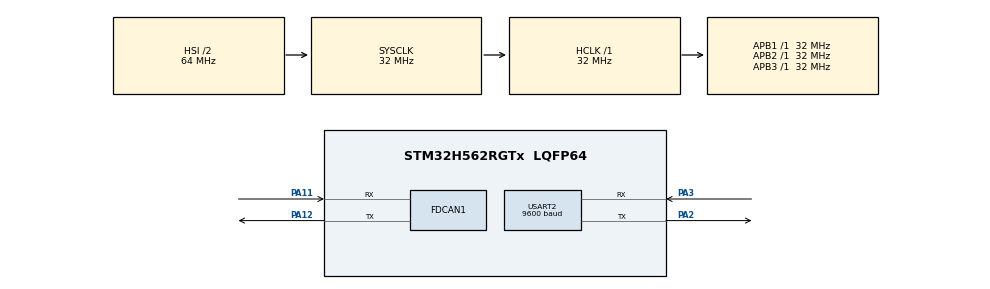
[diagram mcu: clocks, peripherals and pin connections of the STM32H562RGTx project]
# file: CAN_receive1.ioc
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BOOTPATH.BootPathName=LEGACY
BOOTPATH.UserSelectedBootPath=LEGACY
CORTEX_M33_NS.userName=CORTEX_M33
FDCAN1.CalculateBaudRateNominal=1000000
FDCAN1.CalculateTimeBitNominal=1000
FDCAN1.CalculateTimeQuantumNominal=71.42857142857143
FDCAN1.NominalPrescaler=3
FDCAN1.NominalTimeSeg1=10
FDCAN1.NominalTimeSeg2=3
Mcu.Family=STM32H5
Mcu.Name=STM32H562RGTx
Mcu.Package=LQFP64
NVIC.FDCAN1_IT0_IRQn=true\:0\:0\:false\:false\:true\:true\:true\:true
NVIC.FDCAN1_IT1_IRQn=true\:0\:0\:false\:false\:true\:true\:true\:true
NVIC.PriorityGroup=NVIC_PRIORITYGROUP_4
PA11.Mode=FDCAN_Activate
PA11.Signal=FDCAN1_RX
PA12.Mode=FDCAN_Activate
PA12.Signal=FDCAN1_TX
PA2.Mode=Asynchronous
PA2.Signal=USART2_TX
PA3.Mode=Asynchronous
PA3.Signal=USART2_RX
ProjectManager.HeapSize=0x200
ProjectManager.StackSize=0x400
ProjectManager.TargetToolchain=STM32CubeIDE
RCC.ADCFreq_Value=32000000
RCC.AHBFreq_Value=32000000
RCC.APB1Freq_Value=32000000
RCC.APB1TimFreq_Value=32000000
RCC.APB2Freq_Value=32000000
RCC.APB2TimFreq_Value=32000000
RCC.APB3Freq_Value=32000000
RCC.CSI_VALUE=4000000
RCC.CortexFreq_Value=32000000
RCC.EPOD_VALUE=4000000
RCC.FDCANClockSelection=RCC_FDCANCLKSOURCE_PLL1Q
RCC.HCLKFreq_Value=32000000
RCC.HSE_VALUE=25000000
RCC.HSI48_VALUE=48000000
RCC.HSI_VALUE=64000000
RCC.LSE_VALUE=32768
RCC.LSIRC_VALUE=32000
RCC.PLL1Q=4
RCC.PLLFRACN=0
RCC.PLLN=42
RCC.SYSCLKFreq_VALUE=32000000
RCC.USBFreq_Value=48000000
RCC.VCOOutputFreq_Value=168000000
USART2.BaudRate=9600
USART2.VirtualMode=VM_ASYNC
VP_BOOTPATH_VS_BOOTPATH.Mode=BP_Activate
VP_MEMORYMAP_VS_MEMORYMAP.Mode=CurAppReg
VP_PWR_VS_DBSignals.Mode=DisableDeadBatterySignals
VP_PWR_VS_LPOM.Mode=PowerOptimisation
VP_PWR_VS_SECSignals.Mode=Security/Privilege
board=custom

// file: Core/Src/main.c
/* USER CODE BEGIN Header */
/**
  ******************************************************************************
	Author: Pham Van Nam
	Date: 20-06-2025
  ******************************************************************************
  */
/* USER CODE END Header */
#include "main.h"
#include "stdio.h"
#include "string.h"

/* USER CODE BEGIN PTD */
// �?ịnh nghĩa các trạng thái cho bộ nhận CAN-TP
typedef enum {
    TP_RECEIVER_IDLE,      // Trạng thái nghỉ, sẵn sàng nhận phiên mới
    TP_RECEIVER_WAIT_CF    // �?ã nhận First Frame, đang ch�? các Consecutive Frames
} TP_Receiver_State_t;
/* USER CODE END PTD */

/* USER CODE BEGIN PD */
#define PCI_TYPE_SF 0x0 // Single Frame
#define PCI_TYPE_FF 0x1 // First Frame
#define PCI_TYPE_CF 0x2 // Consecutive Frame
#define PCI_TYPE_FC 0x3 // Flow Control

#define CAN_TP_REQUEST_ID   0x123 // ID mà chúng ta lắng nghe (ví dụ: request chẩn đoán)
#define CAN_TP_RESPONSE_ID  0x125 // ID mà chúng ta dùng để gửi trả l�?i (FC)

#define TP_BUFFER_SIZE 256 // Kích thước buffer tối đa cho tin nhắn ghép nối
/* USER CODE END PD */

FDCAN_HandleTypeDef hfdcan1;

UART_HandleTypeDef huart2;

/* USER CODE BEGIN PV */

// --- Biến cho State Machine và việc ghép nối dữ liệu ---
volatile TP_Receiver_State_t g_tp_receiver_state = TP_RECEIVER_IDLE;
uint8_t  g_tp_reassembly_buffer[TP_BUFFER_SIZE];
volatile uint16_t g_tp_total_size = 0;
volatile uint16_t g_tp_bytes_received = 0;
volatile uint8_t  g_tp_expected_seq_num = 0;

// C�? báo cho vòng lặp main biết có tin nhắn hoàn chỉnh
volatile uint8_t g_tp_message_ready = 0;

// Biến cho FDCAN
FDCAN_TxHeaderTypeDef g_tx_header;
FDCAN_RxHeaderTypeDef g_rx_header;
uint8_t g_rx_data[8]; // Buffer nhận dữ liệu từ 1 frame CAN

/* USER CODE END PV */

void SystemClock_Config(void);
static void MX_GPIO_Init(void);
static void MX_FDCAN1_Init(void);
static void MX_USART2_UART_Init(void);
/* USER CODE BEGIN PFP */
void FDCAN_ConfigFilter(void);
void send_flow_control_frame(void);
void print_reassembled_message(void);
/* USER CODE END PFP */

/* USER CODE BEGIN 0 */
/**
  * @brief In tin nhắn đã được ghép nối hoàn chỉnh ra UART.
  *        Hàm này được g�?i từ main loop để tránh làm chậm ngắt.
  */
void print_reassembled_message(void) {
    char msg[100];
    snprintf(msg, sizeof(msg), "\r\n--- Complete TP Message Received ---\r\n");
    HAL_UART_Transmit(&huart2, (uint8_t*)msg, strlen(msg), 100);

    snprintf(msg, sizeof(msg), "Total Size: %u bytes\r\nData: ", g_tp_total_size);
    HAL_UART_Transmit(&huart2, (uint8_t*)msg, strlen(msg), 100);

    for (uint16_t i = 0; i < g_tp_total_size; i++) {
        snprintf(msg, sizeof(msg), "%02X ", g_tp_reassembly_buffer[i]);
        HAL_UART_Transmit(&huart2, (uint8_t*)msg, strlen(msg), 100);
    }
    HAL_UART_Transmit(&huart2, (uint8_t*)"\r\n----------------------------------\r\n", 36, 100);
}

/**
  * @brief Gửi frame Flow Control (FC) để báo cho bên gửi tiếp tục.
  */
void send_flow_control_frame(void) {
    g_tx_header.Identifier = CAN_TP_RESPONSE_ID;
    g_tx_header.IdType = FDCAN_STANDARD_ID;
    g_tx_header.TxFrameType = FDCAN_DATA_FRAME;
    g_tx_header.DataLength = FDCAN_DLC_BYTES_3;
    g_tx_header.ErrorStateIndicator = FDCAN_ESI_ACTIVE;
    g_tx_header.BitRateSwitch = FDCAN_BRS_OFF;
    g_tx_header.FDFormat = FDCAN_CLASSIC_CAN;
    g_tx_header.TxEventFifoControl = FDCAN_NO_TX_EVENTS;
    g_tx_header.MessageMarker = 0;

    uint8_t tx_data[3];
    // [PCI - 0x30]: FlowStatus = CTS, BlockSize = 0, STmin = 0
    tx_data[0] = 0x30; // 0b0011 0000: Flow Control, Continue To Send
    tx_data[1] = 0x00; // Block Size (BS) = 0 (gửi tất cả mà không cần FC nữa)
    tx_data[2] = 0x00; // Separation Time (STmin) = 0 ms

    if (HAL_FDCAN_AddMessageToTxFifoQ(&hfdcan1, &g_tx_header, tx_data) != HAL_OK) {
        Error_Handler();
    }

    char msg[] = "-> Sent Flow Control (CTS)\r\n";
    HAL_UART_Transmit(&huart2, (uint8_t*)msg, strlen(msg), 100); // Gửi log nhanh
}

/**
  * @brief Ngắt được g�?i khi có tin nhắn mới trong FIFO0 của FDCAN.
  *        �?ây là trái tim của bộ nhận CAN-TP.
  */

void process_can_tp_frame(FDCAN_RxHeaderTypeDef* rx_header, uint8_t* rx_data) {
    uint8_t pci_type = (rx_data[0] & 0xF0) >> 4;

    switch (g_tp_receiver_state) {
        case TP_RECEIVER_IDLE:
        {
            if (pci_type == PCI_TYPE_SF) {
                uint8_t sf_len = rx_data[0] & 0x0F;
                if (sf_len > 0 && sf_len < 8) {
                    memcpy(g_tp_reassembly_buffer, &rx_data[1], sf_len);
                    g_tp_total_size = sf_len;
                    g_tp_message_ready = 1;
                }
            } else if (pci_type == PCI_TYPE_FF) {
                g_tp_total_size = ((uint16_t)(rx_data[0] & 0x0F) << 8) | rx_data[1];
                if (g_tp_total_size > TP_BUFFER_SIZE) return;

                memcpy(g_tp_reassembly_buffer, &rx_data[2], 6);
                g_tp_bytes_received = 6;
                g_tp_expected_seq_num = 1;

                g_tp_receiver_state = TP_RECEIVER_WAIT_CF;
                send_flow_control_frame();
            }
            break;
        }

        case TP_RECEIVER_WAIT_CF:
        {
            if (pci_type == PCI_TYPE_CF) {
                uint8_t seq_num = rx_data[0] & 0x0F;
                if (seq_num != g_tp_expected_seq_num) {
                    g_tp_receiver_state = TP_RECEIVER_IDLE;
                    return;
                }

                // Chuyển DLC sang byte
                uint32_t dlc_in_bytes;
                switch (rx_header->DataLength) {
                    case FDCAN_DLC_BYTES_1: dlc_in_bytes = 1; break;
                    case FDCAN_DLC_BYTES_2: dlc_in_bytes = 2; break;
                    case FDCAN_DLC_BYTES_3: dlc_in_bytes = 3; break;
                    case FDCAN_DLC_BYTES_4: dlc_in_bytes = 4; break;
                    case FDCAN_DLC_BYTES_5: dlc_in_bytes = 5; break;
                    case FDCAN_DLC_BYTES_6: dlc_in_bytes = 6; break;
                    case FDCAN_DLC_BYTES_7: dlc_in_bytes = 7; break;
                    case FDCAN_DLC_BYTES_8: dlc_in_bytes = 8; break;
                    default: dlc_in_bytes = 0; break;
                }

                uint32_t bytes_to_copy = dlc_in_bytes - 1;
                if (g_tp_bytes_received + bytes_to_copy > g_tp_total_size) {
                    bytes_to_copy = g_tp_total_size - g_tp_bytes_received;
                }

                memcpy(&g_tp_reassembly_buffer[g_tp_bytes_received], &rx_data[1], bytes_to_copy);
                g_tp_bytes_received += bytes_to_copy;
                g_tp_expected_seq_num = (g_tp_expected_seq_num + 1) % 16;

                if (g_tp_bytes_received >= g_tp_total_size) {
                    g_tp_message_ready = 1;
                    g_tp_receiver_state = TP_RECEIVER_IDLE;
                }
            } else {
                g_tp_receiver_state = TP_RECEIVER_IDLE;
            }
            break;
        }
    }
}

void HAL_FDCAN_RxFifo0Callback(FDCAN_HandleTypeDef *hfdcan, uint32_t RxFifo0ITs)
{
    if ((RxFifo0ITs & FDCAN_IT_RX_FIFO0_NEW_MESSAGE) != 0)
    {
        if (HAL_FDCAN_GetRxMessage(hfdcan, FDCAN_RX_FIFO0, &g_rx_header, g_rx_data) != HAL_OK) {
            g_tp_receiver_state = TP_RECEIVER_IDLE;
            return;
        }

        // --- In log xác nhận frame đã nhận ---
        char log_msg[100];

        // In ID
        snprintf(log_msg, sizeof(log_msg), "\r\n[CAN RX] ID: 0x%03lX | Data: ", (unsigned long)g_rx_header.Identifier);
        HAL_UART_Transmit(&huart2, (uint8_t*)log_msg, strlen(log_msg), 100);

        // In dữ liệu theo độ dài thực tế (DLC)
        uint32_t dlc_in_bytes;
        switch (g_rx_header.DataLength) {
            case FDCAN_DLC_BYTES_0: dlc_in_bytes = 0; break;
            case FDCAN_DLC_BYTES_1: dlc_in_bytes = 1; break;
            case FDCAN_DLC_BYTES_2: dlc_in_bytes = 2; break;
            case FDCAN_DLC_BYTES_3: dlc_in_bytes = 3; break;
            case FDCAN_DLC_BYTES_4: dlc_in_bytes = 4; break;
            case FDCAN_DLC_BYTES_5: dlc_in_bytes = 5; break;
            case FDCAN_DLC_BYTES_6: dlc_in_bytes = 6; break;
            case FDCAN_DLC_BYTES_7: dlc_in_bytes = 7; break;
            case FDCAN_DLC_BYTES_8: dlc_in_bytes = 8; break;
            default: dlc_in_bytes = 0; break;
        }

        for (uint32_t i = 0; i < dlc_in_bytes; i++) {
            snprintf(log_msg, sizeof(log_msg), "%02X ", g_rx_data[i]);
            HAL_UART_Transmit(&huart2, (uint8_t*)log_msg, strlen(log_msg), 100);
        }
        HAL_UART_Transmit(&huart2, (uint8_t*)"\r\n", 2, 100);

        // --- G�?i hàm xử lý CAN-TP ---
        process_can_tp_frame(&g_rx_header, g_rx_data);
    }
}

void FDCAN_ConfigFilter(void)
{
    FDCAN_FilterTypeDef sFilterConfig;
    sFilterConfig.IdType = FDCAN_STANDARD_ID;               // L�?c ID 11-bit
    sFilterConfig.FilterIndex = 0;                          // Filter đầu tiên
    sFilterConfig.FilterType = FDCAN_FILTER_MASK;           // Dùng chế độ mask
    sFilterConfig.FilterConfig = FDCAN_FILTER_TO_RXFIFO0;   // Frame hợp lệ sẽ vào FIFO0

    sFilterConfig.FilterID1 = 0x000;    // Giá trị so sánh = 0
    sFilterConfig.FilterID2 = 0x000;    // Mask = 0 -> b�? qua so sánh tất cả bit

    if (HAL_FDCAN_ConfigFilter(&hfdcan1, &sFilterConfig) != HAL_OK)
    {
        Error_Handler();
    }
}

/* USER CODE END 0 */

int main(void)
{

  /* MCU Configuration--------------------------------------------------------*/

  /* Reset of all peripherals, Initializes the Flash interface and the Systick. */
  HAL_Init();

  /* Configure the system clock */
  SystemClock_Config();

  /* Initialize all configured peripherals */
  MX_GPIO_Init();
  MX_FDCAN1_Init();
  MX_USART2_UART_Init();
  /* USER CODE BEGIN 2 */

  FDCAN_ConfigFilter();

  // Khởi động FDCAN
  if (HAL_FDCAN_Start(&hfdcan1) != HAL_OK)
  {
      Error_Handler();
  }

  // Kích hoạt ngắt báo có tin nhắn mới trong FIFO0
  if (HAL_FDCAN_ActivateNotification(&hfdcan1, FDCAN_IT_RX_FIFO0_NEW_MESSAGE, 0) != HAL_OK)
  {
      Error_Handler();
  }

  char uartBuf[100];
  sprintf(uartBuf, "CAN-TP Receiver Ready. Listening on ID 0x%03X...\r\n", CAN_TP_REQUEST_ID);
  HAL_UART_Transmit(&huart2, (uint8_t*)uartBuf, strlen(uartBuf), 100);

  /* USER CODE END 2 */

  /* Infinite loop */
  while (1)
  {

  }
}

void SystemClock_Config(void)
{
  RCC_OscInitTypeDef RCC_OscInitStruct = {0};
  RCC_ClkInitTypeDef RCC_ClkInitStruct = {0};

  /** Configure the main internal regulator output voltage
  */
  __HAL_PWR_VOLTAGESCALING_CONFIG(PWR_REGULATOR_VOLTAGE_SCALE3);

  while(!__HAL_PWR_GET_FLAG(PWR_FLAG_VOSRDY)) {}

  /** Initializes the RCC Oscillators according to the specified parameters
  * in the RCC_OscInitTypeDef structure.
  */
  RCC_OscInitStruct.OscillatorType = RCC_OSCILLATORTYPE_HSI|RCC_OSCILLATORTYPE_CSI;
  RCC_OscInitStruct.HSIState = RCC_HSI_ON;
  RCC_OscInitStruct.HSIDiv = RCC_HSI_DIV2;
  RCC_OscInitStruct.HSICalibrationValue = RCC_HSICALIBRATION_DEFAULT;
  RCC_OscInitStruct.CSIState = RCC_CSI_ON;
  RCC_OscInitStruct.CSICalibrationValue = RCC_CSICALIBRATION_DEFAULT;
  RCC_OscInitStruct.PLL.PLLState = RCC_PLL_ON;
  RCC_OscInitStruct.PLL.PLLSource = RCC_PLL1_SOURCE_CSI;
  RCC_OscInitStruct.PLL.PLLM = 1;
  RCC_OscInitStruct.PLL.PLLN = 42;
  RCC_OscInitStruct.PLL.PLLP = 2;
  RCC_OscInitStruct.PLL.PLLQ = 4;
  RCC_OscInitStruct.PLL.PLLR = 2;
  RCC_OscInitStruct.PLL.PLLRGE = RCC_PLL1_VCIRANGE_2;
  RCC_OscInitStruct.PLL.PLLVCOSEL = RCC_PLL1_VCORANGE_WIDE;
  RCC_OscInitStruct.PLL.PLLFRACN = 0;
  if (HAL_RCC_OscConfig(&RCC_OscInitStruct) != HAL_OK)
  {
    Error_Handler();
  }

  /** Initializes the CPU, AHB and APB buses clocks
  */
  RCC_ClkInitStruct.ClockType = RCC_CLOCKTYPE_HCLK|RCC_CLOCKTYPE_SYSCLK
                              |RCC_CLOCKTYPE_PCLK1|RCC_CLOCKTYPE_PCLK2
                              |RCC_CLOCKTYPE_PCLK3;
  RCC_ClkInitStruct.SYSCLKSource = RCC_SYSCLKSOURCE_HSI;
  RCC_ClkInitStruct.AHBCLKDivider = RCC_SYSCLK_DIV1;
  RCC_ClkInitStruct.APB1CLKDivider = RCC_HCLK_DIV1;
  RCC_ClkInitStruct.APB2CLKDivider = RCC_HCLK_DIV1;
  RCC_ClkInitStruct.APB3CLKDivider = RCC_HCLK_DIV1;

  if (HAL_RCC_ClockConfig(&RCC_ClkInitStruct, FLASH_LATENCY_1) != HAL_OK)
  {
    Error_Handler();
  }
}

static void MX_FDCAN1_Init(void)
{

  hfdcan1.Instance = FDCAN1;
  hfdcan1.Init.ClockDivider = FDCAN_CLOCK_DIV1;
  hfdcan1.Init.FrameFormat = FDCAN_FRAME_CLASSIC;
  hfdcan1.Init.Mode = FDCAN_MODE_NORMAL;
  hfdcan1.Init.AutoRetransmission = DISABLE;
  hfdcan1.Init.TransmitPause = DISABLE;
  hfdcan1.Init.ProtocolException = DISABLE;
  hfdcan1.Init.NominalPrescaler = 3;
  hfdcan1.Init.NominalSyncJumpWidth = 1;
  hfdcan1.Init.NominalTimeSeg1 = 10;
  hfdcan1.Init.NominalTimeSeg2 = 3;
  hfdcan1.Init.DataPrescaler = 1;
  hfdcan1.Init.DataSyncJumpWidth = 1;
  hfdcan1.Init.DataTimeSeg1 = 1;
  hfdcan1.Init.DataTimeSeg2 = 1;
  hfdcan1.Init.StdFiltersNbr = 0;
  hfdcan1.Init.ExtFiltersNbr = 0;
  hfdcan1.Init.TxFifoQueueMode = FDCAN_TX_FIFO_OPERATION;
  if (HAL_FDCAN_Init(&hfdcan1) != HAL_OK)
  {
    Error_Handler();
  }

}

static void MX_USART2_UART_Init(void)
{

  huart2.Instance = USART2;
  huart2.Init.BaudRate = 9600;
  huart2.Init.WordLength = UART_WORDLENGTH_8B;
  huart2.Init.StopBits = UART_STOPBITS_1;
  huart2.Init.Parity = UART_PARITY_NONE;
  huart2.Init.Mode = UART_MODE_TX_RX;
  huart2.Init.HwFlowCtl = UART_HWCONTROL_NONE;
  huart2.Init.OverSampling = UART_OVERSAMPLING_16;
  huart2.Init.OneBitSampling = UART_ONE_BIT_SAMPLE_DISABLE;
  huart2.Init.ClockPrescaler = UART_PRESCALER_DIV1;
  huart2.AdvancedInit.AdvFeatureInit = UART_ADVFEATURE_NO_INIT;
  if (HAL_UART_Init(&huart2) != HAL_OK)
  {
    Error_Handler();
  }
  if (HAL_UARTEx_SetTxFifoThreshold(&huart2, UART_TXFIFO_THRESHOLD_1_8) != HAL_OK)
  {
    Error_Handler();
  }
  if (HAL_UARTEx_SetRxFifoThreshold(&huart2, UART_RXFIFO_THRESHOLD_1_8) != HAL_OK)
  {
    Error_Handler();
  }
  if (HAL_UARTEx_DisableFifoMode(&huart2) != HAL_OK)
  {
    Error_Handler();
  }

}

static void MX_GPIO_Init(void)
{

  /* GPIO Ports Clock Enable */
  __HAL_RCC_GPIOA_CLK_ENABLE();

}

void Error_Handler(void)
{
  __disable_irq();
  while (1)
  {
  }
}
